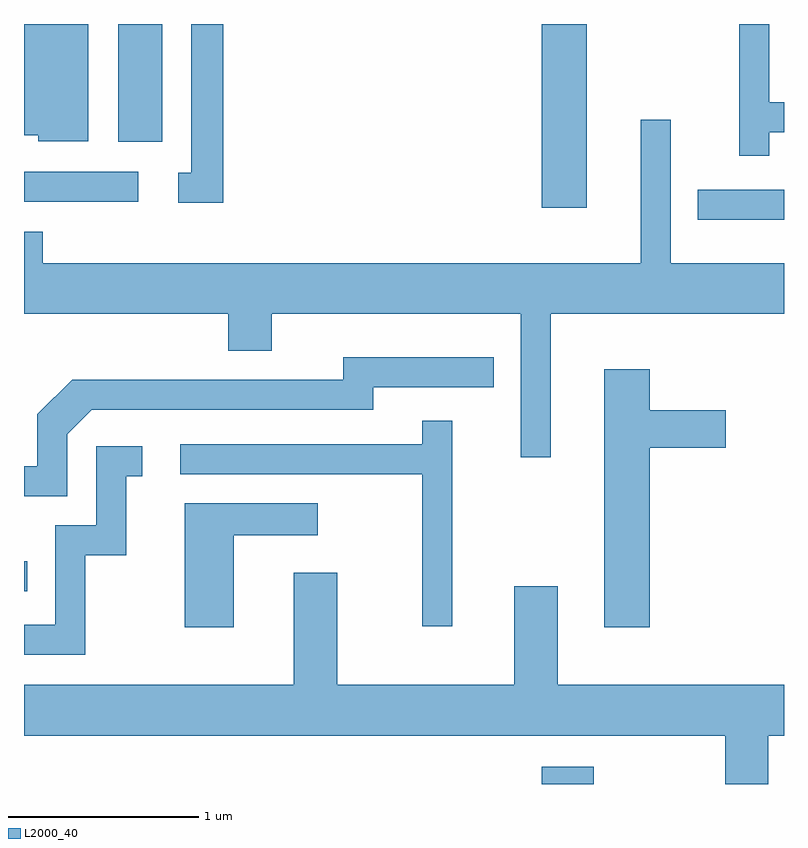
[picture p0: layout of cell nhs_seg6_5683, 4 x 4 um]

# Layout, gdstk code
import gdstk
lib = gdstk.Library(unit=1e-6, precision=1e-09)
def R(c, l, rs):  # rectangles x0, y0, x1, y1
    for r in rs: c.add(gdstk.rectangle(r[:2], r[2:], *l))
def P(c, l, *ps):  # polygons
    for p in ps: c.add(gdstk.Polygon(p, *l))
L2000_40 = (2000, 40)

nhs_seg6_5683 = lib.new_cell('nhs_seg6_5683')
R(nhs_seg6_5683, L2000_40, [(360.336,1614.162,360.609,1614.254), (357.611,1615.176,357.628,1615.334), (361.158,1617.131,361.611,1617.289), (360.336,1617.196,360.574,1618.162), (357.611,1617.226,358.213,1617.384), (358.106,1617.541,358.339,1618.162)])
P(nhs_seg6_5683, L2000_40, [(357.949,1618.162),(357.611,1618.162),(357.611,1617.576),(357.686,1617.576),(357.686,1617.546),(357.949,1617.546)],
  [(361.534,1617.591),(361.611,1617.591),(361.611,1617.749),(361.534,1617.749),(361.534,1618.162),(361.376,1618.162),(361.376,1617.468),(361.534,1617.468)],
  [(358.659,1618.162),(358.491,1618.162),(358.491,1617.379),(358.423,1617.379),(358.423,1617.221),(358.659,1617.221)],
  [(360.384,1616.636),(361.611,1616.636),(361.611,1616.904),(361.014,1616.904),(361.014,1617.658),(360.856,1617.658),(360.856,1616.904),(357.709,1616.904),(357.709,1617.069),(357.611,1617.069),(357.611,1616.636),(358.686,1616.636),(358.686,1616.441),(358.914,1616.441),(358.914,1616.636),(360.226,1616.636),(360.226,1615.883),(360.384,1615.883)],
  [(357.839,1616.004),(357.967,1616.131),(359.449,1616.131),(359.449,1616.251),(360.083,1616.251),(360.083,1616.409),(359.291,1616.409),(359.291,1616.289),(357.864,1616.289),(357.681,1616.107),(357.681,1615.834),(357.611,1615.834),(357.611,1615.676),(357.839,1615.676)],
  [(360.904,1615.931),(361.304,1615.931),(361.304,1616.129),(360.904,1616.129),(360.904,1616.344),(360.666,1616.344),(360.666,1614.986),(360.904,1614.986)],
  [(359.864,1616.073),(359.706,1616.073),(359.706,1615.949),(358.433,1615.949),(358.433,1615.791),(359.706,1615.791),(359.706,1614.993),(359.864,1614.993)],
  [(357.934,1615.366),(358.149,1615.366),(358.149,1615.781),(358.233,1615.781),(358.233,1615.939),(357.991,1615.939),(357.991,1615.524),(357.776,1615.524),(357.776,1614.999),(357.611,1614.999),(357.611,1614.841),(357.934,1614.841)],
  [(358.714,1615.471),(359.158,1615.471),(359.158,1615.639),(358.456,1615.639),(358.456,1614.986),(358.714,1614.986)],
  [(361.529,1614.416),(361.611,1614.416),(361.611,1614.684),(360.419,1614.684),(360.419,1615.204),(360.191,1615.204),(360.191,1614.684),(359.259,1614.684),(359.259,1615.274),(359.031,1615.274),(359.031,1614.684),(357.611,1614.684),(357.611,1614.416),(361.301,1614.416),(361.301,1614.162),(361.529,1614.162)])

lib.write_gds('nhs_seg6_5683.gds')
